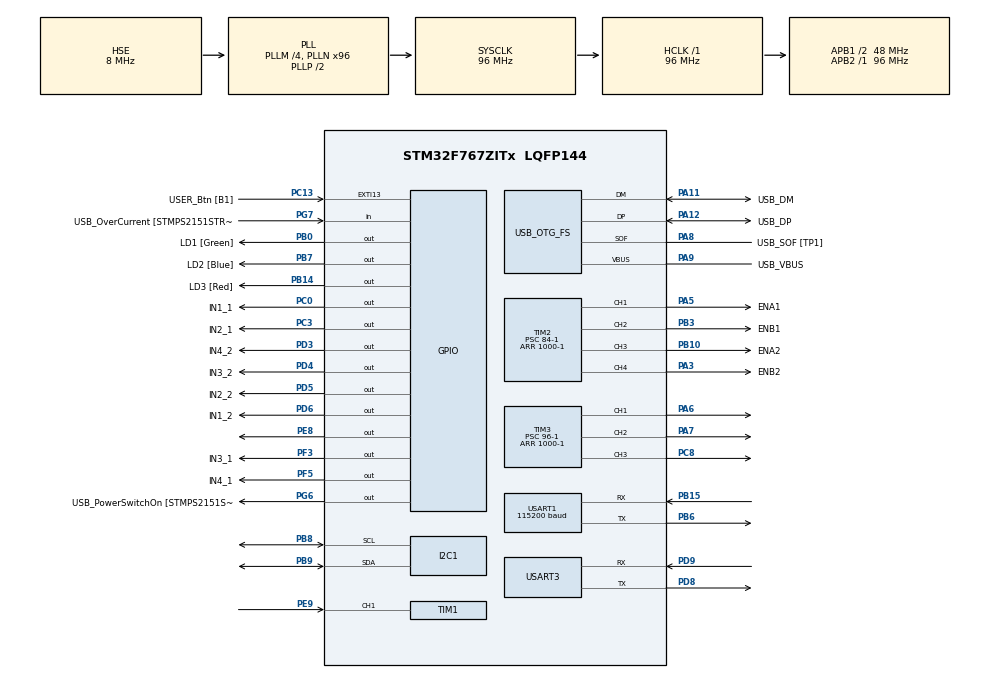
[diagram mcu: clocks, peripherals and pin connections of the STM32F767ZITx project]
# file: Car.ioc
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I2C1.Timing=0x20303E5D
Mcu.Family=STM32F7
Mcu.Name=STM32F767ZITx
Mcu.Package=LQFP144
NVIC.PriorityGroup=NVIC_PRIORITYGROUP_4
NVIC.TIM1_CC_IRQn=true\:0\:0\:false\:false\:true\:true\:true\:true
NVIC.USART1_IRQn=true\:0\:0\:false\:false\:true\:true\:true\:true
NVIC.USART3_IRQn=true\:0\:0\:false\:false\:true\:true\:true\:true
PA1.GPIO_Label=RMII_REF_CLK [LAN8742A-CZ-TR_REFCLK0]
PA1.Signal=ETH_REF_CLK
PA10.GPIO_Label=USB_ID
PA10.Signal=USB_OTG_FS_ID
PA11.GPIO_Label=USB_DM
PA11.Mode=Device_Only
PA11.Signal=USB_OTG_FS_DM
PA12.GPIO_Label=USB_DP
PA12.Mode=Device_Only
PA12.Signal=USB_OTG_FS_DP
PA13.GPIO_Label=TMS
PA13.Mode=Serial_Wire
PA13.Signal=SYS_JTMS-SWDIO
PA14.GPIO_Label=TCK
PA14.Mode=Serial_Wire
PA14.Signal=SYS_JTCK-SWCLK
PA2.GPIO_Label=RMII_MDIO [LAN8742A-CZ-TR_MDIO]
PA2.Signal=ETH_MDIO
PA3.GPIO_Label=ENB2
PA3.Signal=S_TIM2_CH4
PA5.GPIO_Label=ENA1
PA5.Signal=S_TIM2_CH1_ETR
PA6.Signal=S_TIM3_CH1
PA7.Signal=S_TIM3_CH2
PA8.GPIO_Label=USB_SOF [TP1]
PA8.Mode=Activate_SOF_FS
PA8.Signal=USB_OTG_FS_SOF
PA9.GPIO_Label=USB_VBUS
PA9.Mode=Activate_VBUS
PA9.Signal=USB_OTG_FS_VBUS
PB0.GPIO_Label=LD1 [Green]
PB0.Signal=GPIO_Output
PB10.GPIO_Label=ENA2
PB10.Signal=S_TIM2_CH3
PB13.GPIO_Label=RMII_TXD1 [LAN8742A-CZ-TR_TXD1]
PB13.Signal=ETH_TXD1
PB14.GPIO_Label=LD3 [Red]
PB14.Signal=GPIO_Output
PB15.Mode=Asynchronous
PB15.Signal=USART1_RX
PB3.GPIO_Label=ENB1
PB3.Signal=S_TIM2_CH2
PB6.Mode=Asynchronous
PB6.Signal=USART1_TX
PB7.GPIO_Label=LD2 [Blue]
PB7.Signal=GPIO_Output
PB8.Mode=I2C
PB8.Signal=I2C1_SCL
PB9.Mode=I2C
PB9.Signal=I2C1_SDA
PC0.GPIO_Label=IN1_1
PC0.Signal=GPIO_Output
PC1.GPIO_Label=RMII_MDC [LAN8742A-CZ-TR_MDC]
PC1.Signal=ETH_MDC
PC13.GPIO_Label=USER_Btn [B1]
PC13.Signal=GPXTI13
PC14/OSC32_IN.Mode=LSE-External-Oscillator
PC14/OSC32_IN.Signal=RCC_OSC32_IN
PC15/OSC32_OUT.Mode=LSE-External-Oscillator
PC15/OSC32_OUT.Signal=RCC_OSC32_OUT
PC3.GPIO_Label=IN2_1
PC3.Signal=GPIO_Output
PC4.GPIO_Label=RMII_RXD0 [LAN8742A-CZ-TR_RXD0]
PC4.Signal=ETH_RXD0
PC5.GPIO_Label=RMII_RXD1 [LAN8742A-CZ-TR_RXD1]
PC5.Signal=ETH_RXD1
PC8.Signal=S_TIM3_CH3
PD3.GPIO_Label=IN4_2
PD3.Signal=GPIO_Output
PD4.GPIO_Label=IN3_2
PD4.Signal=GPIO_Output
PD5.GPIO_Label=IN2_2
PD5.Signal=GPIO_Output
PD6.GPIO_Label=IN1_2
PD6.Signal=GPIO_Output
PD8.Mode=Asynchronous
PD8.Signal=USART3_TX
PD9.Mode=Asynchronous
PD9.Signal=USART3_RX
PE8.Signal=GPIO_Output
PE9.Signal=S_TIM1_CH1
PF3.GPIO_Label=IN3_1
PF3.Signal=GPIO_Output
PF5.GPIO_Label=IN4_1
PF5.Signal=GPIO_Output
PG11.GPIO_Label=RMII_TX_EN [LAN8742A-CZ-TR_TXEN]
PG11.Signal=ETH_TX_EN
PG13.GPIO_Label=RMII_TXD0 [LAN8742A-CZ-TR_TXD0]
PG13.Signal=ETH_TXD0
PG6.GPIO_Label=USB_PowerSwitchOn [STMPS2151STR_EN]
PG6.Signal=GPIO_Output
PG7.GPIO_Label=USB_OverCurrent [STMPS2151STR_FAULT]
PG7.Signal=GPIO_Input
PH0/OSC_IN.GPIO_Label=MCO [STM32F103CBT6_PA8]
PH0/OSC_IN.Mode=HSE-External-Clock-Source
PH0/OSC_IN.Signal=RCC_OSC_IN
PH1/OSC_OUT.Mode=HSE-External-Clock-Source
PH1/OSC_OUT.Signal=RCC_OSC_OUT
ProjectManager.HeapSize=0x200
ProjectManager.StackSize=0x400
ProjectManager.TargetToolchain=STM32CubeIDE
RCC.48MHZClocksFreq_Value=24000000
RCC.AHBFreq_Value=96000000
RCC.APB1CLKDivider=RCC_HCLK_DIV2
RCC.APB1Freq_Value=48000000
RCC.APB1TimFreq_Value=96000000
RCC.APB2Freq_Value=96000000
RCC.APB2TimFreq_Value=96000000
RCC.CortexFreq_Value=96000000
RCC.HCLKFreq_Value=96000000
RCC.HSE_VALUE=8000000
RCC.HSI_VALUE=16000000
RCC.PLLM=4
RCC.PLLMUL=RCC_PLL_MUL9
RCC.PLLN=96
RCC.PLLQ=4
RCC.PRESCALERUSB=RCC_USBCLKSOURCE_PLL_DIV1_5
RCC.SYSCLKFreq_VALUE=96000000
RCC.SYSCLKSource=RCC_SYSCLKSOURCE_PLLCLK
RCC.SYSCLKSourceVirtual=RCC_SYSCLKSOURCE_PLLCLK
RCC.USBFreq_Value=48000000
RCC.VCOOutputFreq_Value=192000000
SH.S_TIM1_CH1.0=TIM1_CH1,Input_Capture1_from_TI1
SH.S_TIM2_CH1_ETR.0=TIM2_CH1,PWM Generation1 CH1
SH.S_TIM2_CH2.0=TIM2_CH2,PWM Generation2 CH2
SH.S_TIM2_CH3.0=TIM2_CH3,PWM Generation3 CH3
SH.S_TIM2_CH4.0=TIM2_CH4,PWM Generation4 CH4
SH.S_TIM3_CH1.0=TIM3_CH1,PWM Generation1 CH1
SH.S_TIM3_CH2.0=TIM3_CH2,PWM Generation2 CH2
SH.S_TIM3_CH3.0=TIM3_CH3,PWM Generation3 CH3
TIM1.Channel-Input_Capture1_from_TI1=TIM_CHANNEL_1
TIM1.Period=65535-1
TIM1.Prescaler=96-1
TIM2.Channel-PWM\ Generation1\ CH1=TIM_CHANNEL_1
TIM2.Channel-PWM\ Generation2\ CH2=TIM_CHANNEL_2
TIM2.Channel-PWM\ Generation3\ CH3=TIM_CHANNEL_3
TIM2.Channel-PWM\ Generation4\ CH4=TIM_CHANNEL_4
TIM2.Period=1000-1
TIM2.Prescaler=84-1
TIM3.Channel-PWM\ Generation1\ CH1=TIM_CHANNEL_1
TIM3.Channel-PWM\ Generation2\ CH2=TIM_CHANNEL_2
TIM3.Channel-PWM\ Generation3\ CH3=TIM_CHANNEL_3
TIM3.Period=1000-1
TIM3.Prescaler=96-1
USART1.BaudRate=115200
USART1.VirtualMode-Asynchronous=VM_ASYNC
USART3.VirtualMode-Asynchronous=VM_ASYNC
USB_OTG_FS.VirtualMode=Device_Only
VP_TIM2_VS_ClockSourceINT.Mode=Internal
VP_TIM3_VS_ClockSourceINT.Mode=Internal
board=NUCLEO-F767ZI

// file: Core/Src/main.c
/* USER CODE BEGIN Header */
/**
 ******************************************************************************
 * @file           : main.c
 * @brief          : Main program body
 ******************************************************************************
 * @attention
 *
 * Copyright (c) 2023 STMicroelectronics.
 * All rights reserved.
 *
 * This software is licensed under terms that can be found in the LICENSE file
 * in the root directory of this software component.
 * If no LICENSE file comes with this software, it is provided AS-IS.
 *
 ******************************************************************************
 */
/* USER CODE END Header */
#include "main.h"

/* USER CODE BEGIN Includes */
#include "string.h"

/* USER CODE END Includes */

/* USER CODE BEGIN PD */
#define BUFFER_LEN   1

/* USER CODE END PD */

I2C_HandleTypeDef hi2c1;

TIM_HandleTypeDef htim1;
TIM_HandleTypeDef htim2;
TIM_HandleTypeDef htim3;

UART_HandleTypeDef huart1;
UART_HandleTypeDef huart3;

PCD_HandleTypeDef hpcd_USB_OTG_FS;

/* USER CODE BEGIN PV */
char state[100] = "stop";
char ch1;
char str_vr4[100];
float ena_1 = 1.0;
float enb_1 = 1.0;
float ena_2 = 1.0;
float enb_2 = 1.0;
uint8_t mode = 0;
uint8_t rxData;
uint8_t avDis;
uint8_t light = 1;
/* USER CODE END PV */

void SystemClock_Config(void);
static void MX_GPIO_Init(void);
static void MX_USART3_UART_Init(void);
static void MX_USB_OTG_FS_PCD_Init(void);
static void MX_USART1_UART_Init(void);
static void MX_TIM2_Init(void);
static void MX_TIM1_Init(void);
static void MX_I2C1_Init(void);
static void MX_TIM3_Init(void);

/* USER CODE BEGIN 0 */
uint32_t IC_Val1 = 0;
uint32_t IC_Val2 = 0;
uint32_t Difference = 0;
uint8_t Is_First_Captured = 0;  // is the first value captured ?
uint8_t Distance = 0;
uint8_t pwm;
uint8_t value = 200;

#define TRIG_PIN GPIO_PIN_8
#define TRIG_PORT GPIOE

void delay(uint16_t microsec) {
	__HAL_TIM_SET_COUNTER(&htim1, 0);
	while (__HAL_TIM_GET_COUNTER(&htim1) < microsec)
		;

}

void HAL_TIM_IC_CaptureCallback(TIM_HandleTypeDef *htim) {
	if (htim->Channel == HAL_TIM_ACTIVE_CHANNEL_1) // if the interrupt source is channel1
			{
		if (Is_First_Captured == 0) // if the first value is not captured
				{
			IC_Val1 = HAL_TIM_ReadCapturedValue(htim, TIM_CHANNEL_1); // read the first value
			Is_First_Captured = 1;  // set the first captured as true
			// Now change the polarity to falling edge
			__HAL_TIM_SET_CAPTUREPOLARITY(htim, TIM_CHANNEL_1,
					TIM_INPUTCHANNELPOLARITY_FALLING);
		}

		else if (Is_First_Captured == 1)   // if the first is already captured
				{
			IC_Val2 = HAL_TIM_ReadCapturedValue(htim, TIM_CHANNEL_1); // read second value
			__HAL_TIM_SET_COUNTER(htim, 0);  // reset the counter

			if (IC_Val2 > IC_Val1) {
				Difference = IC_Val2 - IC_Val1;
			}

			else if (IC_Val1 > IC_Val2) {
				Difference = (0xffff - IC_Val1) + IC_Val2;
			}

			Distance = Difference * .034 / 2;
			Is_First_Captured = 0; // set it back to false

			// set polarity to rising edge
			__HAL_TIM_SET_CAPTUREPOLARITY(htim, TIM_CHANNEL_1,
					TIM_INPUTCHANNELPOLARITY_RISING);
			__HAL_TIM_DISABLE_IT(&htim1, TIM_IT_CC1);
		}
	}
}
void HCSR04_Read(void) {
	HAL_GPIO_WritePin(TRIG_PORT, TRIG_PIN, GPIO_PIN_SET); // pull the TRIG pin HIGH
	delay(10);  // wait for 10 us
	HAL_GPIO_WritePin(TRIG_PORT, TRIG_PIN, GPIO_PIN_RESET); // pull the TRIG pin low

	__HAL_TIM_ENABLE_IT(&htim1, TIM_IT_CC1);
}
/* USER CODE END 0 */

int main(void) {

	/* MCU Configuration--------------------------------------------------------*/

	/* Reset of all peripherals, Initializes the Flash interface and the Systick. */
	HAL_Init();

	/* Configure the system clock */
	SystemClock_Config();

	/* Initialize all configured peripherals */
	MX_GPIO_Init();
	MX_USART3_UART_Init();
	MX_USB_OTG_FS_PCD_Init();
	MX_USART1_UART_Init();
	MX_TIM2_Init();
	MX_TIM1_Init();
	MX_I2C1_Init();
	MX_TIM3_Init();
	/* USER CODE BEGIN 2 */
//	HAL_UART_Receive_IT(&huart1, (uint16_t*) &state, 64);
	HAL_UART_Receive_IT(&huart1, &rxData, 1);
	HAL_TIM_PWM_Start(&htim2, TIM_CHANNEL_1);
	HAL_TIM_PWM_Start(&htim2, TIM_CHANNEL_2);
	HAL_TIM_PWM_Start(&htim2, TIM_CHANNEL_3);
	HAL_TIM_PWM_Start(&htim2, TIM_CHANNEL_4);
	char strdistance[100];
	HAL_TIM_IC_Start_IT(&htim1, TIM_CHANNEL_1);
	HAL_TIM_PWM_Start(&htim3, TIM_CHANNEL_1);
	HAL_TIM_PWM_Start(&htim3, TIM_CHANNEL_2);
	int average(int x);
	float red = 0.0;
	float green = 0.0;
	/* USER CODE END 2 */

	/* Infinite loop */
	while (1) {

		/* USER CODE BEGIN 3 */
		htim2.Instance->CCR1 = (1000 - 1) * ena_1;
		htim2.Instance->CCR2 = (1000 - 1) * enb_1;
		htim2.Instance->CCR3 = (1000 - 1) * ena_2;
		htim2.Instance->CCR4 = (1000 - 1) * enb_2;
		htim3.Instance->CCR1 = (1000 - 1) * red;
		htim3.Instance->CCR2 = (1000 - 1) * green;
		HCSR04_Read();
		delay(10000);
		avDis = average(Distance);
		sprintf(strdistance, "%d\n\r", avDis);

		HAL_UART_Transmit(&huart3, (uint8_t*) strdistance, strlen(strdistance),1000);
		if (mode == 0) {
			if (avDis <= 15) {
				light = 0;
				HAL_UART_Transmit(&huart1,  &light, 1, 1000);

				//					HAL_TIM_PWM_Stop(&htim3, TIM_CHANNEL_2);
				//					HAL_TIM_PWM_Start(&htim3, TIM_CHANNEL_1);
				//					pwm = (GPIOA->IDR & GPIO_PIN_6) >> 10;
				HAL_TIM_PWM_Start(&htim3, TIM_CHANNEL_3);
				//					htim3.Instance->CCR1 = value;
				red = 1.0;
				green = 0.0;

			} else {
				light =1;
				HAL_UART_Transmit(&huart1,  &light, 1, 1000);

				//					HAL_TIM_PWM_Stop(&htim3, TIM_CHANNEL_1);
				//					HAL_TIM_PWM_Start(&htim3, TIM_CHANNEL_2);
				//					pwm = (GPIOA->IDR & GPIO_PIN_7) >> 10;
				red = 0.0;
				green = 1.0;
			}
			HAL_TIM_PWM_Stop(&htim3, TIM_CHANNEL_3);
		} else if (mode == 1) {
			light=0;
			HAL_UART_Transmit(&huart1,  &light, 1, 1000);
			ena_1 =1.0;
			enb_1 =1.0;
			ena_2 = 1.0;
			enb_2 = 1.0;
			if (avDis <= 15) {
				//					HAL_TIM_PWM_Stop(&htim3, TIM_CHANNEL_2);
				//					HAL_TIM_PWM_Start(&htim3, TIM_CHANNEL_1);
				//					pwm = (GPIOA->IDR & GPIO_PIN_6) >> 10;
				HAL_TIM_PWM_Start(&htim3, TIM_CHANNEL_3);
				//					htim3.Instance->CCR1 = value;
				HAL_GPIO_WritePin(IN1_1_GPIO_Port, IN1_1_Pin, 0);
				HAL_GPIO_WritePin(IN2_1_GPIO_Port, IN2_1_Pin, 1);
				//
				HAL_GPIO_WritePin(IN3_1_GPIO_Port, IN3_1_Pin, 1);
				HAL_GPIO_WritePin(IN4_1_GPIO_Port, IN4_1_Pin, 0);
				//
				HAL_GPIO_WritePin(IN1_2_GPIO_Port, IN1_2_Pin, 0);
				HAL_GPIO_WritePin(IN2_2_GPIO_Port, IN2_2_Pin, 1);
				//
				HAL_GPIO_WritePin(IN3_2_GPIO_Port, IN3_2_Pin, 1);
				HAL_GPIO_WritePin(IN4_2_GPIO_Port, IN4_2_Pin, 0);
				HAL_Delay(1000);

				ena_1 =1.0;
							enb_1 =1.0;
							ena_2 = 0.3;
							enb_2 = 0.8;
				red = 1.0;
				green = 0.0;
								HAL_GPIO_WritePin(IN1_1_GPIO_Port, IN1_1_Pin, 1);
								HAL_GPIO_WritePin(IN2_1_GPIO_Port, IN2_1_Pin, 0);
								//
								HAL_GPIO_WritePin(IN3_1_GPIO_Port, IN3_1_Pin, 0);
								HAL_GPIO_WritePin(IN4_1_GPIO_Port, IN4_1_Pin, 1);
								//
								HAL_GPIO_WritePin(IN1_2_GPIO_Port, IN1_2_Pin, 0);
								HAL_GPIO_WritePin(IN2_2_GPIO_Port, IN2_2_Pin, 1);
								//
								HAL_GPIO_WritePin(IN3_2_GPIO_Port, IN3_2_Pin, 1);
								HAL_GPIO_WritePin(IN4_2_GPIO_Port, IN4_2_Pin, 0);
				HAL_Delay(900);
//				ena_1 = 1.0;
//				enb_1 = 1.0;
//
//				HAL_GPIO_WritePin(IN1_1_GPIO_Port, IN1_1_Pin, 1);		//ขวาบน
//				HAL_GPIO_WritePin(IN2_1_GPIO_Port, IN2_1_Pin, 0);
//				//
//				HAL_GPIO_WritePin(IN3_1_GPIO_Port, IN3_1_Pin, 0);
//				HAL_GPIO_WritePin(IN4_1_GPIO_Port, IN4_1_Pin, 1);
//				//
//				HAL_GPIO_WritePin(IN1_2_GPIO_Port, IN1_2_Pin, 1);	//ซ้ายล่าง
//				HAL_GPIO_WritePin(IN2_2_GPIO_Port, IN2_2_Pin, 0);
//				//
//				HAL_GPIO_WritePin(IN3_2_GPIO_Port, IN3_2_Pin, 0);		//ซ้ายบน
//				HAL_GPIO_WritePin(IN4_2_GPIO_Port, IN4_2_Pin, 1);
//				HAL_Delay(200);
//				ena_1 = 0.5;
//				enb_1 = 0.5;
//				red = 1.0;
//				green = 0.0;
//				HAL_GPIO_WritePin(IN1_1_GPIO_Port, IN1_1_Pin, 1);
//				HAL_GPIO_WritePin(IN2_1_GPIO_Port, IN2_1_Pin, 0);
//				//
//				HAL_GPIO_WritePin(IN3_1_GPIO_Port, IN3_1_Pin, 0);
//				HAL_GPIO_WritePin(IN4_1_GPIO_Port, IN4_1_Pin, 1);
//				//
//				HAL_GPIO_WritePin(IN1_2_GPIO_Port, IN1_2_Pin, 0);
//				HAL_GPIO_WritePin(IN2_2_GPIO_Port, IN2_2_Pin, 1);
//				//
//				HAL_GPIO_WritePin(IN3_2_GPIO_Port, IN3_2_Pin, 1);
//				HAL_GPIO_WritePin(IN4_2_GPIO_Port, IN4_2_Pin, 0);
//				HAL_Delay(300);

			} else {
				light=1;
				HAL_UART_Transmit(&huart1,  &light, 1, 1000);

				//					HAL_TIM_PWM_Stop(&htim3, TIM_CHANNEL_1);
				//					HAL_TIM_PWM_Start(&htim3, TIM_CHANNEL_2);
				//					pwm = (GPIOA->IDR & GPIO_PIN_7) >> 10;
				red = 0.0;
				green = 1.0;
				HAL_GPIO_WritePin(IN1_1_GPIO_Port, IN1_1_Pin, 1);		//ขวาบน
				HAL_GPIO_WritePin(IN2_1_GPIO_Port, IN2_1_Pin, 0);
				//
				HAL_GPIO_WritePin(IN3_1_GPIO_Port, IN3_1_Pin, 0);
				HAL_GPIO_WritePin(IN4_1_GPIO_Port, IN4_1_Pin, 1);
				//
				HAL_GPIO_WritePin(IN1_2_GPIO_Port, IN1_2_Pin, 1);	//ซ้ายล่าง
				HAL_GPIO_WritePin(IN2_2_GPIO_Port, IN2_2_Pin, 0);
				//
				HAL_GPIO_WritePin(IN3_2_GPIO_Port, IN3_2_Pin, 0);		//ซ้ายบน
				HAL_GPIO_WritePin(IN4_2_GPIO_Port, IN4_2_Pin, 1);
			}
			HAL_TIM_PWM_Stop(&htim3, TIM_CHANNEL_3);
		}
	}
	/* USER CODE END 3 */
}

void SystemClock_Config(void) {
	RCC_OscInitTypeDef RCC_OscInitStruct = { 0 };
	RCC_ClkInitTypeDef RCC_ClkInitStruct = { 0 };

	/** Configure LSE Drive Capability
	 */
	HAL_PWR_EnableBkUpAccess();

	/** Configure the main internal regulator output voltage
	 */
	__HAL_RCC_PWR_CLK_ENABLE();
	__HAL_PWR_VOLTAGESCALING_CONFIG(PWR_REGULATOR_VOLTAGE_SCALE3);

	/** Initializes the RCC Oscillators according to the specified parameters
	 * in the RCC_OscInitTypeDef structure.
	 */
	RCC_OscInitStruct.OscillatorType = RCC_OSCILLATORTYPE_HSE;
	RCC_OscInitStruct.HSEState = RCC_HSE_BYPASS;
	RCC_OscInitStruct.PLL.PLLState = RCC_PLL_ON;
	RCC_OscInitStruct.PLL.PLLSource = RCC_PLLSOURCE_HSE;
	RCC_OscInitStruct.PLL.PLLM = 4;
	RCC_OscInitStruct.PLL.PLLN = 96;
	RCC_OscInitStruct.PLL.PLLP = RCC_PLLP_DIV2;
	RCC_OscInitStruct.PLL.PLLQ = 4;
	RCC_OscInitStruct.PLL.PLLR = 2;
	if (HAL_RCC_OscConfig(&RCC_OscInitStruct) != HAL_OK) {
		Error_Handler();
	}

	/** Activate the Over-Drive mode
	 */
	if (HAL_PWREx_EnableOverDrive() != HAL_OK) {
		Error_Handler();
	}

	/** Initializes the CPU, AHB and APB buses clocks
	 */
	RCC_ClkInitStruct.ClockType = RCC_CLOCKTYPE_HCLK | RCC_CLOCKTYPE_SYSCLK
			| RCC_CLOCKTYPE_PCLK1 | RCC_CLOCKTYPE_PCLK2;
	RCC_ClkInitStruct.SYSCLKSource = RCC_SYSCLKSOURCE_PLLCLK;
	RCC_ClkInitStruct.AHBCLKDivider = RCC_SYSCLK_DIV1;
	RCC_ClkInitStruct.APB1CLKDivider = RCC_HCLK_DIV2;
	RCC_ClkInitStruct.APB2CLKDivider = RCC_HCLK_DIV1;

	if (HAL_RCC_ClockConfig(&RCC_ClkInitStruct, FLASH_LATENCY_3) != HAL_OK) {
		Error_Handler();
	}
}

static void MX_I2C1_Init(void) {

	hi2c1.Instance = I2C1;
	hi2c1.Init.Timing = 0x20303E5D;
	hi2c1.Init.OwnAddress1 = 0;
	hi2c1.Init.AddressingMode = I2C_ADDRESSINGMODE_7BIT;
	hi2c1.Init.DualAddressMode = I2C_DUALADDRESS_DISABLE;
	hi2c1.Init.OwnAddress2 = 0;
	hi2c1.Init.OwnAddress2Masks = I2C_OA2_NOMASK;
	hi2c1.Init.GeneralCallMode = I2C_GENERALCALL_DISABLE;
	hi2c1.Init.NoStretchMode = I2C_NOSTRETCH_DISABLE;
	if (HAL_I2C_Init(&hi2c1) != HAL_OK) {
		Error_Handler();
	}

	/** Configure Analogue filter
	 */
	if (HAL_I2CEx_ConfigAnalogFilter(&hi2c1, I2C_ANALOGFILTER_ENABLE)
			!= HAL_OK) {
		Error_Handler();
	}

	/** Configure Digital filter
	 */
	if (HAL_I2CEx_ConfigDigitalFilter(&hi2c1, 0) != HAL_OK) {
		Error_Handler();
	}

}

static void MX_TIM1_Init(void) {

	TIM_MasterConfigTypeDef sMasterConfig = { 0 };
	TIM_IC_InitTypeDef sConfigIC = { 0 };

	htim1.Instance = TIM1;
	htim1.Init.Prescaler = 96 - 1;
	htim1.Init.CounterMode = TIM_COUNTERMODE_UP;
	htim1.Init.Period = 65535 - 1;
	htim1.Init.ClockDivision = TIM_CLOCKDIVISION_DIV1;
	htim1.Init.RepetitionCounter = 0;
	htim1.Init.AutoReloadPreload = TIM_AUTORELOAD_PRELOAD_DISABLE;
	if (HAL_TIM_IC_Init(&htim1) != HAL_OK) {
		Error_Handler();
	}
	sMasterConfig.MasterOutputTrigger = TIM_TRGO_RESET;
	sMasterConfig.MasterOutputTrigger2 = TIM_TRGO2_RESET;
	sMasterConfig.MasterSlaveMode = TIM_MASTERSLAVEMODE_DISABLE;
	if (HAL_TIMEx_MasterConfigSynchronization(&htim1, &sMasterConfig)
			!= HAL_OK) {
		Error_Handler();
	}
	sConfigIC.ICPolarity = TIM_INPUTCHANNELPOLARITY_RISING;
	sConfigIC.ICSelection = TIM_ICSELECTION_DIRECTTI;
	sConfigIC.ICPrescaler = TIM_ICPSC_DIV1;
	sConfigIC.ICFilter = 0;
	if (HAL_TIM_IC_ConfigChannel(&htim1, &sConfigIC, TIM_CHANNEL_1) != HAL_OK) {
		Error_Handler();
	}

}

static void MX_TIM2_Init(void) {

	TIM_ClockConfigTypeDef sClockSourceConfig = { 0 };
	TIM_MasterConfigTypeDef sMasterConfig = { 0 };
	TIM_OC_InitTypeDef sConfigOC = { 0 };

	htim2.Instance = TIM2;
	htim2.Init.Prescaler = 84 - 1;
	htim2.Init.CounterMode = TIM_COUNTERMODE_UP;
	htim2.Init.Period = 1000 - 1;
	htim2.Init.ClockDivision = TIM_CLOCKDIVISION_DIV1;
	htim2.Init.AutoReloadPreload = TIM_AUTORELOAD_PRELOAD_DISABLE;
	if (HAL_TIM_Base_Init(&htim2) != HAL_OK) {
		Error_Handler();
	}
	sClockSourceConfig.ClockSource = TIM_CLOCKSOURCE_INTERNAL;
	if (HAL_TIM_ConfigClockSource(&htim2, &sClockSourceConfig) != HAL_OK) {
		Error_Handler();
	}
	if (HAL_TIM_PWM_Init(&htim2) != HAL_OK) {
		Error_Handler();
	}
	sMasterConfig.MasterOutputTrigger = TIM_TRGO_RESET;
	sMasterConfig.MasterSlaveMode = TIM_MASTERSLAVEMODE_DISABLE;
	if (HAL_TIMEx_MasterConfigSynchronization(&htim2, &sMasterConfig)
			!= HAL_OK) {
		Error_Handler();
	}
	sConfigOC.OCMode = TIM_OCMODE_PWM1;
	sConfigOC.Pulse = 0;
	sConfigOC.OCPolarity = TIM_OCPOLARITY_HIGH;
	sConfigOC.OCFastMode = TIM_OCFAST_DISABLE;
	if (HAL_TIM_PWM_ConfigChannel(&htim2, &sConfigOC, TIM_CHANNEL_1)
			!= HAL_OK) {
		Error_Handler();
	}
	if (HAL_TIM_PWM_ConfigChannel(&htim2, &sConfigOC, TIM_CHANNEL_2)
			!= HAL_OK) {
		Error_Handler();
	}
	if (HAL_TIM_PWM_ConfigChannel(&htim2, &sConfigOC, TIM_CHANNEL_3)
			!= HAL_OK) {
		Error_Handler();
	}
	if (HAL_TIM_PWM_ConfigChannel(&htim2, &sConfigOC, TIM_CHANNEL_4)
			!= HAL_OK) {
		Error_Handler();
	}
	HAL_TIM_MspPostInit(&htim2);

}

static void MX_TIM3_Init(void) {

	TIM_ClockConfigTypeDef sClockSourceConfig = { 0 };
	TIM_MasterConfigTypeDef sMasterConfig = { 0 };
	TIM_OC_InitTypeDef sConfigOC = { 0 };

	htim3.Instance = TIM3;
	htim3.Init.Prescaler = 96 - 1;
	htim3.Init.CounterMode = TIM_COUNTERMODE_UP;
	htim3.Init.Period = 1000 - 1;
	htim3.Init.ClockDivision = TIM_CLOCKDIVISION_DIV1;
	htim3.Init.AutoReloadPreload = TIM_AUTORELOAD_PRELOAD_DISABLE;
	if (HAL_TIM_Base_Init(&htim3) != HAL_OK) {
		Error_Handler();
	}
	sClockSourceConfig.ClockSource = TIM_CLOCKSOURCE_INTERNAL;
	if (HAL_TIM_ConfigClockSource(&htim3, &sClockSourceConfig) != HAL_OK) {
		Error_Handler();
	}
	if (HAL_TIM_PWM_Init(&htim3) != HAL_OK) {
		Error_Handler();
	}
	sMasterConfig.MasterOutputTrigger = TIM_TRGO_RESET;
	sMasterConfig.MasterSlaveMode = TIM_MASTERSLAVEMODE_DISABLE;
	if (HAL_TIMEx_MasterConfigSynchronization(&htim3, &sMasterConfig)
			!= HAL_OK) {
		Error_Handler();
	}
	sConfigOC.OCMode = TIM_OCMODE_PWM1;
	sConfigOC.Pulse = 0;
	sConfigOC.OCPolarity = TIM_OCPOLARITY_HIGH;
	sConfigOC.OCFastMode = TIM_OCFAST_DISABLE;
	if (HAL_TIM_PWM_ConfigChannel(&htim3, &sConfigOC, TIM_CHANNEL_1)
			!= HAL_OK) {
		Error_Handler();
	}
	if (HAL_TIM_PWM_ConfigChannel(&htim3, &sConfigOC, TIM_CHANNEL_2)
			!= HAL_OK) {
		Error_Handler();
	}
	if (HAL_TIM_PWM_ConfigChannel(&htim3, &sConfigOC, TIM_CHANNEL_3)
			!= HAL_OK) {
		Error_Handler();
	}
	HAL_TIM_MspPostInit(&htim3);

}

static void MX_USART1_UART_Init(void) {

	huart1.Instance = USART1;
	huart1.Init.BaudRate = 115200;
	huart1.Init.WordLength = UART_WORDLENGTH_8B;
	huart1.Init.StopBits = UART_STOPBITS_1;
	huart1.Init.Parity = UART_PARITY_NONE;
	huart1.Init.Mode = UART_MODE_TX_RX;
	huart1.Init.HwFlowCtl = UART_HWCONTROL_NONE;
	huart1.Init.OverSampling = UART_OVERSAMPLING_16;
	huart1.Init.OneBitSampling = UART_ONE_BIT_SAMPLE_DISABLE;
	huart1.AdvancedInit.AdvFeatureInit = UART_ADVFEATURE_NO_INIT;
	if (HAL_UART_Init(&huart1) != HAL_OK) {
		Error_Handler();
	}

}

static void MX_USART3_UART_Init(void) {

	huart3.Instance = USART3;
	huart3.Init.BaudRate = 115200;
	huart3.Init.WordLength = UART_WORDLENGTH_8B;
	huart3.Init.StopBits = UART_STOPBITS_1;
	huart3.Init.Parity = UART_PARITY_NONE;
	huart3.Init.Mode = UART_MODE_TX_RX;
	huart3.Init.HwFlowCtl = UART_HWCONTROL_NONE;
	huart3.Init.OverSampling = UART_OVERSAMPLING_16;
	huart3.Init.OneBitSampling = UART_ONE_BIT_SAMPLE_DISABLE;
	huart3.AdvancedInit.AdvFeatureInit = UART_ADVFEATURE_NO_INIT;
	if (HAL_UART_Init(&huart3) != HAL_OK) {
		Error_Handler();
	}

}

static void MX_USB_OTG_FS_PCD_Init(void) {

	hpcd_USB_OTG_FS.Instance = USB_OTG_FS;
	hpcd_USB_OTG_FS.Init.dev_endpoints = 6;
	hpcd_USB_OTG_FS.Init.speed = PCD_SPEED_FULL;
	hpcd_USB_OTG_FS.Init.dma_enable = DISABLE;
	hpcd_USB_OTG_FS.Init.phy_itface = PCD_PHY_EMBEDDED;
	hpcd_USB_OTG_FS.Init.Sof_enable = ENABLE;
	hpcd_USB_OTG_FS.Init.low_power_enable = DISABLE;
	hpcd_USB_OTG_FS.Init.lpm_enable = DISABLE;
	hpcd_USB_OTG_FS.Init.vbus_sensing_enable = ENABLE;
	hpcd_USB_OTG_FS.Init.use_dedicated_ep1 = DISABLE;
	if (HAL_PCD_Init(&hpcd_USB_OTG_FS) != HAL_OK) {
		Error_Handler();
	}

}

static void MX_GPIO_Init(void) {
	GPIO_InitTypeDef GPIO_InitStruct = { 0 };

	/* GPIO Ports Clock Enable */
	__HAL_RCC_GPIOC_CLK_ENABLE();
	__HAL_RCC_GPIOF_CLK_ENABLE();
	__HAL_RCC_GPIOH_CLK_ENABLE();
	__HAL_RCC_GPIOA_CLK_ENABLE();
	__HAL_RCC_GPIOB_CLK_ENABLE();
	__HAL_RCC_GPIOE_CLK_ENABLE();
	__HAL_RCC_GPIOD_CLK_ENABLE();
	__HAL_RCC_GPIOG_CLK_ENABLE();

	/*Configure GPIO pin Output Level */
	HAL_GPIO_WritePin(GPIOF, IN3_1_Pin | IN4_1_Pin, GPIO_PIN_RESET);

	/*Configure GPIO pin Output Level */
	HAL_GPIO_WritePin(GPIOC, IN1_1_Pin | IN2_1_Pin, GPIO_PIN_RESET);

	/*Configure GPIO pin Output Level */
	HAL_GPIO_WritePin(GPIOB, LD1_Pin | LD3_Pin | LD2_Pin, GPIO_PIN_RESET);

	/*Configure GPIO pin Output Level */
	HAL_GPIO_WritePin(GPIOE, GPIO_PIN_8, GPIO_PIN_RESET);

	/*Configure GPIO pin Output Level */
	HAL_GPIO_WritePin(USB_PowerSwitchOn_GPIO_Port, USB_PowerSwitchOn_Pin,
			GPIO_PIN_RESET);

	/*Configure GPIO pin Output Level */
	HAL_GPIO_WritePin(GPIOD, IN4_2_Pin | IN3_2_Pin | IN2_2_Pin | IN1_2_Pin,
			GPIO_PIN_RESET);

	/*Configure GPIO pin : USER_Btn_Pin */
	GPIO_InitStruct.Pin = USER_Btn_Pin;
	GPIO_InitStruct.Mode = GPIO_MODE_IT_RISING;
	GPIO_InitStruct.Pull = GPIO_NOPULL;
	HAL_GPIO_Init(USER_Btn_GPIO_Port, &GPIO_InitStruct);

	/*Configure GPIO pins : IN3_1_Pin IN4_1_Pin */
	GPIO_InitStruct.Pin = IN3_1_Pin | IN4_1_Pin;
	GPIO_InitStruct.Mode = GPIO_MODE_OUTPUT_PP;
	GPIO_InitStruct.Pull = GPIO_NOPULL;
	GPIO_InitStruct.Speed = GPIO_SPEED_FREQ_LOW;
	HAL_GPIO_Init(GPIOF, &GPIO_InitStruct);

	/*Configure GPIO pins : IN1_1_Pin IN2_1_Pin */
	GPIO_InitStruct.Pin = IN1_1_Pin | IN2_1_Pin;
	GPIO_InitStruct.Mode = GPIO_MODE_OUTPUT_PP;
	GPIO_InitStruct.Pull = GPIO_NOPULL;
	GPIO_InitStruct.Speed = GPIO_SPEED_FREQ_LOW;
	HAL_GPIO_Init(GPIOC, &GPIO_InitStruct);

	/*Configure GPIO pins : RMII_MDC_Pin RMII_RXD0_Pin RMII_RXD1_Pin */
	GPIO_InitStruct.Pin = RMII_MDC_Pin | RMII_RXD0_Pin | RMII_RXD1_Pin;
	GPIO_InitStruct.Mode = GPIO_MODE_AF_PP;
	GPIO_InitStruct.Pull = GPIO_NOPULL;
	GPIO_InitStruct.Speed = GPIO_SPEED_FREQ_VERY_HIGH;
	GPIO_InitStruct.Alternate = GPIO_AF11_ETH;
	HAL_GPIO_Init(GPIOC, &GPIO_InitStruct);

	/*Configure GPIO pins : RMII_REF_CLK_Pin RMII_MDIO_Pin */
	GPIO_InitStruct.Pin = RMII_REF_CLK_Pin | RMII_MDIO_Pin;
	GPIO_InitStruct.Mode = GPIO_MODE_AF_PP;
	GPIO_InitStruct.Pull = GPIO_NOPULL;
	GPIO_InitStruct.Speed = GPIO_SPEED_FREQ_VERY_HIGH;
	GPIO_InitStruct.Alternate = GPIO_AF11_ETH;
	HAL_GPIO_Init(GPIOA, &GPIO_InitStruct);

	/*Configure GPIO pins : LD1_Pin LD3_Pin LD2_Pin */
	GPIO_InitStruct.Pin = LD1_Pin | LD3_Pin | LD2_Pin;
	GPIO_InitStruct.Mode = GPIO_MODE_OUTPUT_PP;
	GPIO_InitStruct.Pull = GPIO_NOPULL;
	GPIO_InitStruct.Speed = GPIO_SPEED_FREQ_LOW;
	HAL_GPIO_Init(GPIOB, &GPIO_InitStruct);

	/*Configure GPIO pin : PE8 */
	GPIO_InitStruct.Pin = GPIO_PIN_8;
	GPIO_InitStruct.Mode = GPIO_MODE_OUTPUT_PP;
	GPIO_InitStruct.Pull = GPIO_NOPULL;
	GPIO_InitStruct.Speed = GPIO_SPEED_FREQ_LOW;
	HAL_GPIO_Init(GPIOE, &GPIO_InitStruct);

	/*Configure GPIO pin : RMII_TXD1_Pin */
	GPIO_InitStruct.Pin = RMII_TXD1_Pin;
	GPIO_InitStruct.Mode = GPIO_MODE_AF_PP;
	GPIO_InitStruct.Pull = GPIO_NOPULL;
	GPIO_InitStruct.Speed = GPIO_SPEED_FREQ_VERY_HIGH;
	GPIO_InitStruct.Alternate = GPIO_AF11_ETH;
	HAL_GPIO_Init(RMII_TXD1_GPIO_Port, &GPIO_InitStruct);

	/*Configure GPIO pin : USB_PowerSwitchOn_Pin */
	GPIO_InitStruct.Pin = USB_PowerSwitchOn_Pin;
	GPIO_InitStruct.Mode = GPIO_MODE_OUTPUT_PP;
	GPIO_InitStruct.Pull = GPIO_NOPULL;
	GPIO_InitStruct.Speed = GPIO_SPEED_FREQ_LOW;
	HAL_GPIO_Init(USB_PowerSwitchOn_GPIO_Port, &GPIO_InitStruct);

	/*Configure GPIO pin : USB_OverCurrent_Pin */
	GPIO_InitStruct.Pin = USB_OverCurrent_Pin;
	GPIO_InitStruct.Mode = GPIO_MODE_INPUT;
	GPIO_InitStruct.Pull = GPIO_NOPULL;
	HAL_GPIO_Init(USB_OverCurrent_GPIO_Port, &GPIO_InitStruct);

	/*Configure GPIO pins : IN4_2_Pin IN3_2_Pin IN2_2_Pin IN1_2_Pin */
	GPIO_InitStruct.Pin = IN4_2_Pin | IN3_2_Pin | IN2_2_Pin | IN1_2_Pin;
	GPIO_InitStruct.Mode = GPIO_MODE_OUTPUT_PP;
	GPIO_InitStruct.Pull = GPIO_NOPULL;
	GPIO_InitStruct.Speed = GPIO_SPEED_FREQ_LOW;
	HAL_GPIO_Init(GPIOD, &GPIO_InitStruct);

	/*Configure GPIO pins : RMII_TX_EN_Pin RMII_TXD0_Pin */
	GPIO_InitStruct.Pin = RMII_TX_EN_Pin | RMII_TXD0_Pin;
	GPIO_InitStruct.Mode = GPIO_MODE_AF_PP;
	GPIO_InitStruct.Pull = GPIO_NOPULL;
	GPIO_InitStruct.Speed = GPIO_SPEED_FREQ_VERY_HIGH;
	GPIO_InitStruct.Alternate = GPIO_AF11_ETH;
	HAL_GPIO_Init(GPIOG, &GPIO_InitStruct);

}

/* USER CODE BEGIN 4 */
void HAL_UART_RxCpltCallback(UART_HandleTypeDef *huart) {
	/* Prevent unused argument(s) compilation warning */
	UNUSED(huart);

	if (huart->Instance == huart1.Instance) {
		ena_1 = 1.0;
		enb_1 = 1.0;
		ena_2 = 1.0;
		enb_2 = 1.0;
		if (mode == 0) {
			if (rxData == 'B') {
				//
				HAL_GPIO_WritePin(IN1_1_GPIO_Port, IN1_1_Pin, 0);
				HAL_GPIO_WritePin(IN2_1_GPIO_Port, IN2_1_Pin, 0);
				//
				HAL_GPIO_WritePin(IN3_1_GPIO_Port, IN3_1_Pin, 0);
				HAL_GPIO_WritePin(IN4_1_GPIO_Port, IN4_1_Pin, 0);
				//
				HAL_GPIO_WritePin(IN1_2_GPIO_Port, IN1_2_Pin, 0);
				HAL_GPIO_WritePin(IN2_2_GPIO_Port, IN2_2_Pin, 0);
				//
				HAL_GPIO_WritePin(IN3_2_GPIO_Port, IN3_2_Pin, 0);
				HAL_GPIO_WritePin(IN4_2_GPIO_Port, IN4_2_Pin, 0);
			} else if (rxData == 'W') {
				HAL_GPIO_WritePin(IN1_1_GPIO_Port, IN1_1_Pin, 1);		//ขวาบน
				HAL_GPIO_WritePin(IN2_1_GPIO_Port, IN2_1_Pin, 0);
				//
				HAL_GPIO_WritePin(IN3_1_GPIO_Port, IN3_1_Pin, 0);
				HAL_GPIO_WritePin(IN4_1_GPIO_Port, IN4_1_Pin, 1);
				//
				HAL_GPIO_WritePin(IN1_2_GPIO_Port, IN1_2_Pin, 1);	//ซ้ายล่าง
				HAL_GPIO_WritePin(IN2_2_GPIO_Port, IN2_2_Pin, 0);
				//
				HAL_GPIO_WritePin(IN3_2_GPIO_Port, IN3_2_Pin, 0);		//ซ้ายบน
				HAL_GPIO_WritePin(IN4_2_GPIO_Port, IN4_2_Pin, 1);
			} else if (rxData == 'S') {
				HAL_GPIO_WritePin(IN1_1_GPIO_Port, IN1_1_Pin, 0);
				HAL_GPIO_WritePin(IN2_1_GPIO_Port, IN2_1_Pin, 1);
				//
				HAL_GPIO_WritePin(IN3_1_GPIO_Port, IN3_1_Pin, 1);
				HAL_GPIO_WritePin(IN4_1_GPIO_Port, IN4_1_Pin, 0);
				//
				HAL_GPIO_WritePin(IN1_2_GPIO_Port, IN1_2_Pin, 0);
				HAL_GPIO_WritePin(IN2_2_GPIO_Port, IN2_2_Pin, 1);
				//
				HAL_GPIO_WritePin(IN3_2_GPIO_Port, IN3_2_Pin, 1);
				HAL_GPIO_WritePin(IN4_2_GPIO_Port, IN4_2_Pin, 0);
				ena_2 = 0.5;
				enb_2 = 0.5;
			} else if (rxData == 'A') {
				HAL_GPIO_WritePin(IN1_1_GPIO_Port, IN1_1_Pin, 1);
				HAL_GPIO_WritePin(IN2_1_GPIO_Port, IN2_1_Pin, 0);
				//
				HAL_GPIO_WritePin(IN3_1_GPIO_Port, IN3_1_Pin, 0);
				HAL_GPIO_WritePin(IN4_1_GPIO_Port, IN4_1_Pin, 1);
				//
				HAL_GPIO_WritePin(IN1_2_GPIO_Port, IN1_2_Pin, 0);
				HAL_GPIO_WritePin(IN2_2_GPIO_Port, IN2_2_Pin, 1);
				//
				ena_1 = 0.5;
				enb_1 = 0.5;
				HAL_GPIO_WritePin(IN3_2_GPIO_Port, IN3_2_Pin, 1);
				HAL_GPIO_WritePin(IN4_2_GPIO_Port, IN4_2_Pin, 0);
			} else if (rxData == 'D') {
				HAL_GPIO_WritePin(IN1_1_GPIO_Port, IN1_1_Pin, 0);
				HAL_GPIO_WritePin(IN2_1_GPIO_Port, IN2_1_Pin, 1);
				//
				HAL_GPIO_WritePin(IN3_1_GPIO_Port, IN3_1_Pin, 1);
				HAL_GPIO_WritePin(IN4_1_GPIO_Port, IN4_1_Pin, 0);
				//
				HAL_GPIO_WritePin(IN1_2_GPIO_Port, IN1_2_Pin, 1);
				HAL_GPIO_WritePin(IN2_2_GPIO_Port, IN2_2_Pin, 0);
				//
				HAL_GPIO_WritePin(IN3_2_GPIO_Port, IN3_2_Pin, 0);
				HAL_GPIO_WritePin(IN4_2_GPIO_Port, IN4_2_Pin, 1);
			} else if (rxData == 'M') {
				mode = 1;
				rxData = 66;
			}

		} else if (mode == 1) {
			if (rxData == 'N') {
				mode = 0;
			}
		}
		char temp[50];
		sprintf(temp, "%d", mode);
		HAL_UART_Transmit(&huart3, &rxData, 1, 1000);

		HAL_UART_Receive_IT(&huart1, &rxData, 1);

	}

}
int average(int x) {
	static int samples[16];
	static int i = 0;
	static int total = 0;
	total += x - samples[i];
	samples[i] = x;
	i = (i == 15 ? 0 : i + 1);
	return total / 16;
}
/* USER CODE END 4 */

void Error_Handler(void) {
	__disable_irq();
	while (1) {
	}
}
